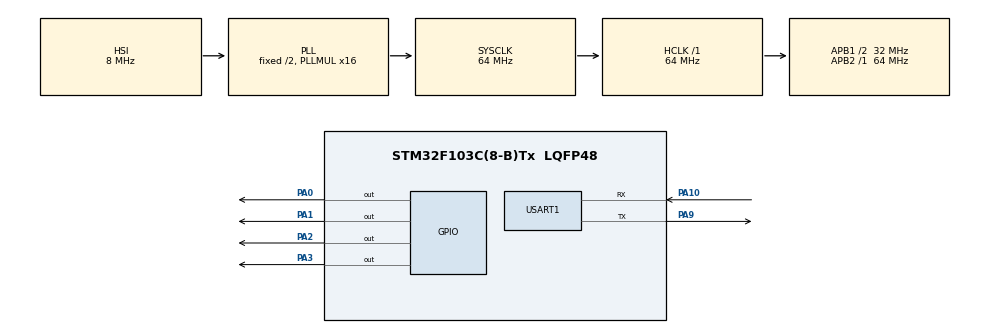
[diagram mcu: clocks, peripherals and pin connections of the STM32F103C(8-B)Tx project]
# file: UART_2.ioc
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Mcu.Family=STM32F1
Mcu.Name=STM32F103C(8-B)Tx
Mcu.Package=LQFP48
NVIC.PriorityGroup=NVIC_PRIORITYGROUP_4
NVIC.USART1_IRQn=true\:1\:0\:true\:false\:true\:true\:true\:true
PA0-WKUP.Signal=GPIO_Output
PA1.Signal=GPIO_Output
PA10.Mode=Asynchronous
PA10.Signal=USART1_RX
PA13.Mode=Serial_Wire
PA13.Signal=SYS_JTMS-SWDIO
PA14.Mode=Serial_Wire
PA14.Signal=SYS_JTCK-SWCLK
PA2.Signal=GPIO_Output
PA3.Signal=GPIO_Output
PA9.Mode=Asynchronous
PA9.Signal=USART1_TX
PD0-OSC_IN.Mode=HSE-External-Oscillator
PD0-OSC_IN.Signal=RCC_OSC_IN
PD1-OSC_OUT.Mode=HSE-External-Oscillator
PD1-OSC_OUT.Signal=RCC_OSC_OUT
ProjectManager.HeapSize=0x200
ProjectManager.StackSize=0x400
ProjectManager.TargetToolchain=MDK-ARM V5.32
RCC.AHBFreq_Value=64000000
RCC.APB1CLKDivider=RCC_HCLK_DIV2
RCC.APB1Freq_Value=32000000
RCC.APB1TimFreq_Value=64000000
RCC.APB2Freq_Value=64000000
RCC.APB2TimFreq_Value=64000000
RCC.HCLKFreq_Value=64000000
RCC.PLLMUL=RCC_PLL_MUL16
RCC.SYSCLKFreq_VALUE=64000000
RCC.SYSCLKSource=RCC_SYSCLKSOURCE_PLLCLK
RCC.USBFreq_Value=64000000
USART1.VirtualMode=VM_ASYNC
board=custom

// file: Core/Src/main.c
/* USER CODE BEGIN Header */
/**
  ******************************************************************************
  * @file           : main.c
  * @brief          : Main program body
  ******************************************************************************
  * @attention
  *
  * Copyright (c) 2023 STMicroelectronics.
  * All rights reserved.
  *
  * This software is licensed under terms that can be found in the LICENSE file
  * in the root directory of this software component.
  * If no LICENSE file comes with this software, it is provided AS-IS.
  *
  ******************************************************************************
  */
/* USER CODE END Header */
#include "main.h"

UART_HandleTypeDef huart1;

void SystemClock_Config(void);
static void MX_GPIO_Init(void);
static void MX_USART1_UART_Init(void);

/* USER CODE BEGIN 0 */
uint8_t dataRx;
uint8_t flag =0;
void HAL_UART_RxCpltCallback(UART_HandleTypeDef *huart)		// ngat UART
{
	if (huart-> Instance == huart1.Instance)
	{
		flag =1;
		HAL_UART_Receive_IT(&huart1, &dataRx,1);
	}
}

/* USER CODE END 0 */

int main(void)
{

  /* MCU Configuration--------------------------------------------------------*/

  /* Reset of all peripherals, Initializes the Flash interface and the Systick. */
  HAL_Init();

  /* Configure the system clock */
  SystemClock_Config();

  /* Initialize all configured peripherals */
  MX_GPIO_Init();
  MX_USART1_UART_Init();
  /* USER CODE BEGIN 2 */
	HAL_UART_Receive_IT(&huart1,&dataRx,1);	//goi ham de nhan 1 byte tu UART

  /* USER CODE END 2 */

  /* Infinite loop */
  while (1)
  {

    /* USER CODE BEGIN 3 */
		HAL_GPIO_WritePin(GPIOA,GPIO_PIN_0,1);
		HAL_Delay(3000);
		HAL_GPIO_WritePin(GPIOA,GPIO_PIN_0,0);
		if (flag ==1)
		{
			//HAL_UART_Transmit (&huart1,"dataRx = ",9,300);
			//HAL_UART_Transmit(&huart1,&dataRx,1,300);
			if ( dataRx == '1')
			{
				HAL_GPIO_WritePin (GPIOA, GPIO_PIN_0,1);
			}
			else if (dataRx == '2')
			{
				HAL_GPIO_WritePin (GPIOA, GPIO_PIN_1,1);
			}
			else if (dataRx == '3')
			{
				HAL_GPIO_WritePin (GPIOA, GPIO_PIN_2,1);
			}
			else if (dataRx == '4')
			{
				HAL_GPIO_WritePin (GPIOA, GPIO_PIN_3,1);
			}
			else if (dataRx == 'A')
			{
				HAL_GPIO_WritePin (GPIOA, GPIO_PIN_0,0);
			}
			else if (dataRx == 'B')
			{
				HAL_GPIO_WritePin (GPIOA, GPIO_PIN_1,0);
			}
			else if (dataRx == 'C')
			{
				HAL_GPIO_WritePin (GPIOA, GPIO_PIN_2,0);
			}
			else if (dataRx == 'D')
			{
				HAL_GPIO_WritePin (GPIOA, GPIO_PIN_3,0);
			}
			flag =0;
		}
  }
  /* USER CODE END 3 */
}

void SystemClock_Config(void)
{
  RCC_OscInitTypeDef RCC_OscInitStruct = {0};
  RCC_ClkInitTypeDef RCC_ClkInitStruct = {0};

  /** Initializes the RCC Oscillators according to the specified parameters
  * in the RCC_OscInitTypeDef structure.
  */
  RCC_OscInitStruct.OscillatorType = RCC_OSCILLATORTYPE_HSI;
  RCC_OscInitStruct.HSIState = RCC_HSI_ON;
  RCC_OscInitStruct.HSICalibrationValue = RCC_HSICALIBRATION_DEFAULT;
  RCC_OscInitStruct.PLL.PLLState = RCC_PLL_ON;
  RCC_OscInitStruct.PLL.PLLSource = RCC_PLLSOURCE_HSI_DIV2;
  RCC_OscInitStruct.PLL.PLLMUL = RCC_PLL_MUL16;
  if (HAL_RCC_OscConfig(&RCC_OscInitStruct) != HAL_OK)
  {
    Error_Handler();
  }

  /** Initializes the CPU, AHB and APB buses clocks
  */
  RCC_ClkInitStruct.ClockType = RCC_CLOCKTYPE_HCLK|RCC_CLOCKTYPE_SYSCLK
                              |RCC_CLOCKTYPE_PCLK1|RCC_CLOCKTYPE_PCLK2;
  RCC_ClkInitStruct.SYSCLKSource = RCC_SYSCLKSOURCE_PLLCLK;
  RCC_ClkInitStruct.AHBCLKDivider = RCC_SYSCLK_DIV1;
  RCC_ClkInitStruct.APB1CLKDivider = RCC_HCLK_DIV2;
  RCC_ClkInitStruct.APB2CLKDivider = RCC_HCLK_DIV1;

  if (HAL_RCC_ClockConfig(&RCC_ClkInitStruct, FLASH_LATENCY_2) != HAL_OK)
  {
    Error_Handler();
  }
}

static void MX_USART1_UART_Init(void)
{

  huart1.Instance = USART1;
  huart1.Init.BaudRate = 115200;
  huart1.Init.WordLength = UART_WORDLENGTH_8B;
  huart1.Init.StopBits = UART_STOPBITS_1;
  huart1.Init.Parity = UART_PARITY_NONE;
  huart1.Init.Mode = UART_MODE_TX_RX;
  huart1.Init.HwFlowCtl = UART_HWCONTROL_NONE;
  huart1.Init.OverSampling = UART_OVERSAMPLING_16;
  if (HAL_UART_Init(&huart1) != HAL_OK)
  {
    Error_Handler();
  }

}

static void MX_GPIO_Init(void)
{

  /* GPIO Ports Clock Enable */
  __HAL_RCC_GPIOD_CLK_ENABLE();
  __HAL_RCC_GPIOA_CLK_ENABLE();

}

void Error_Handler(void)
{
  __disable_irq();
  while (1)
  {
  }
}
